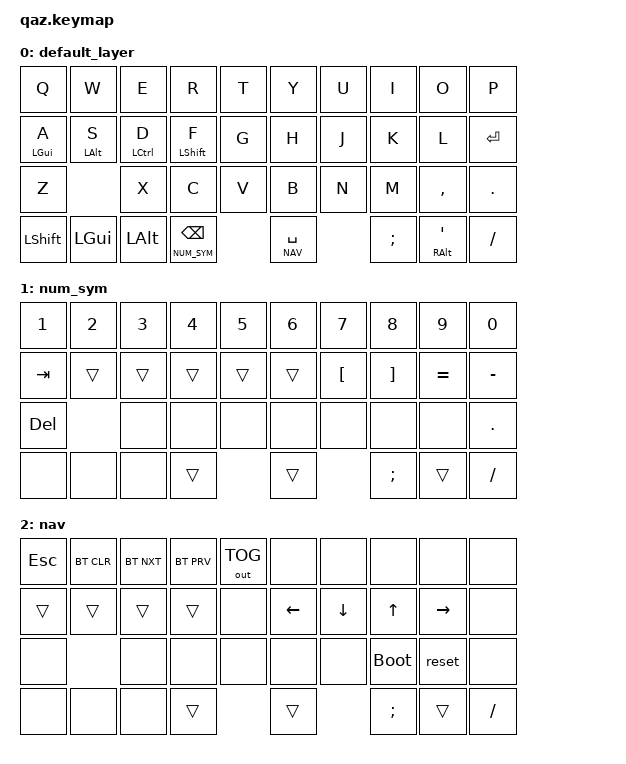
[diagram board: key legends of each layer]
/*
 * Copyright (c) 2020 The ZMK Contributors
 *
 * SPDX-License-Identifier: MIT
 */

#include <behaviors.dtsi>
#include <dt-bindings/zmk/keys.h>
#include <dt-bindings/zmk/bt.h>
#include <dt-bindings/zmk/outputs.h>

#define DEFAULT 0
#define NUM_SYM 1
#define NAV     2

/ {
    behaviors {
        hm: homerow_mods {
            compatible = "zmk,behavior-hold-tap";
            label = "homerow mods";
            #binding-cells = <2>;
            tapping_term_ms = <225>;
            flavor = "tap-preferred";
            bindings = <&kp>, <&kp>;
        };
    };
};

/ {
    keymap {
        compatible = "zmk,keymap";

        default_layer {
            bindings = <
    &kp Q      &kp W      &kp E       &kp R       &kp T  &kp Y  &kp U       &kp I       &kp O           &kp P
    &hm LGUI A &hm LALT S &hm LCTRL D &hm LSHFT F &kp G  &kp H  &kp J       &kp K       &kp L           &kp RET
    &kp Z                 &kp X       &kp C       &kp V  &kp B  &kp N       &kp M       &kp COMMA       &kp DOT
    &kp LSHFT  &kp LGUI   &kp LALT    &lt NUM_SYM BSPC   &lt NAV SPACE      &kp SEMI    &hm RALT SQT    &kp FSLH
            >;
        };
        num_sym {
            bindings = <
    &kp N1     &kp N2     &kp N3     &kp N4     &kp N5 &kp N6 &kp N7     &kp N8      &kp N9    &kp N0
    &kp TAB    &trans     &trans     &trans     &trans &trans &kp LBKT   &kp RBKT    &kp EQUAL &kp MINUS
    &kp DEL               &none      &none      &none  &none  &none      &none       &none     &kp DOT
    &none      &none      &none      &trans        &trans                &kp SEMI    &trans    &kp FSLH
            >;
        };

    nav {
            bindings = <
    &kp ESC    &bt BT_CLR &bt BT_NXT &bt BT_PRV &out OUT_TOG &none     &none       &none        &none     &none     
    &trans     &trans     &trans     &trans      &none &kp LEFT &kp DOWN    &kp UP       &kp RIGHT &none
    &none                 &none      &none       &none &none    &none       &bootloader &reset     &none
    &none      &none      &none         &trans        &trans             &kp SEMI      &trans    &kp FSLH
            >;
        };
    };
};
